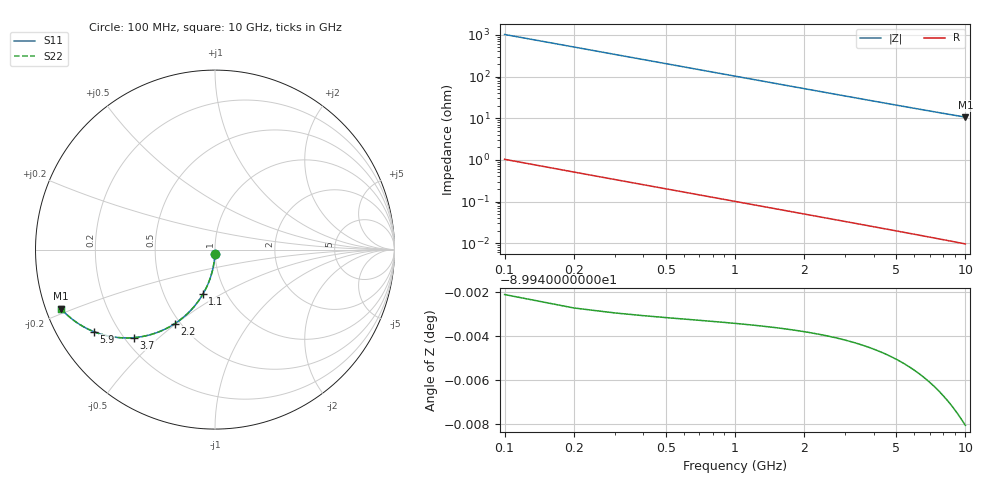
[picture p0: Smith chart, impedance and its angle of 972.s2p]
# Hz S RI R 50.00
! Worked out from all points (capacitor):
!   100 points, 100 MHz to 10 GHz, reference 50 ohm
!   read as one part in shunt: C = 1.56 pF near 100 MHz
!   lowest |Z| = 10.6 ohm at 10 GHz (marker M1)
!   S11 on the Smith chart (normalised r, x): 100 MHz: 1.00, -0.05; 1.1 GHz: 0.78, -0.41; 2.2 GHz: 0.47, -0.49; 3.7 GHz: 0.24, -0.42; 5.9 GHz: 0.11, -0.30; 10 GHz: 0.04, -0.19
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1e8  -0.000594 -0.0243  0.9993 -0.0246  0.9993 -0.0246  -0.000594 -0.0243
2e8  -0.00241 -0.0485  0.9975 -0.0492  0.9975 -0.0492  -0.00241 -0.0485
3e8  -0.0054 -0.0725  0.9945 -0.0735  0.9945 -0.0735  -0.0054 -0.0725
4e8  -0.00956 -0.0962  0.9904 -0.0976  0.9904 -0.0976  -0.00956 -0.0962
5e8  -0.0148 -0.1196  0.9851 -0.1214  0.9851 -0.1214  -0.0148 -0.1196
6e8  -0.0212 -0.1426  0.9787 -0.1447  0.9787 -0.1447  -0.0212 -0.1426
7e8  -0.0286 -0.1651  0.9713 -0.1676  0.9713 -0.1676  -0.0286 -0.1651
9e8  -0.0464 -0.2083  0.9535 -0.2115  0.9535 -0.2115  -0.0464 -0.2083
1.1e9  -0.0677 -0.2489  0.9322 -0.2528  0.9322 -0.2528  -0.0677 -0.2489
1.4e9  -0.1052 -0.3039  0.8947 -0.3088  0.8947 -0.3088  -0.1052 -0.3039
1.8e9  -0.1626 -0.3653  0.8374 -0.3717  0.8374 -0.3717  -0.1626 -0.3653
2.2e9  -0.2247 -0.413  0.7752 -0.4208  0.7752 -0.4208  -0.2247 -0.413
2.8e9  -0.3193 -0.4607  0.6806 -0.4707  0.6806 -0.4707  -0.3193 -0.4607
3.4e9  -0.4087 -0.485  0.5912 -0.4972  0.5912 -0.4972  -0.4087 -0.485
3.7e9  -0.45 -0.4904  0.5498 -0.5037  0.5498 -0.5037  -0.45 -0.4904
4.4e9  -0.5364 -0.4902  0.4634 -0.5061  0.4634 -0.5061  -0.5364 -0.4902
5.1e9  -0.6085 -0.4783  0.3912 -0.4968  0.3912 -0.4968  -0.6085 -0.4783
5.9e9  -0.6755 -0.4569  0.3242 -0.4784  0.3242 -0.4784  -0.6755 -0.4569
6.7e9  -0.7288 -0.4317  0.2709 -0.4563  0.2709 -0.4563  -0.7288 -0.4317
7.5e9  -0.7712 -0.4056  0.2283 -0.4332  0.2283 -0.4332  -0.7712 -0.4056
8.4e9  -0.809 -0.3768  0.1904 -0.4079  0.1904 -0.4079  -0.809 -0.3768
1e10  -0.8577 -0.3296  0.1415 -0.3672  0.1415 -0.3672  -0.8577 -0.3296
